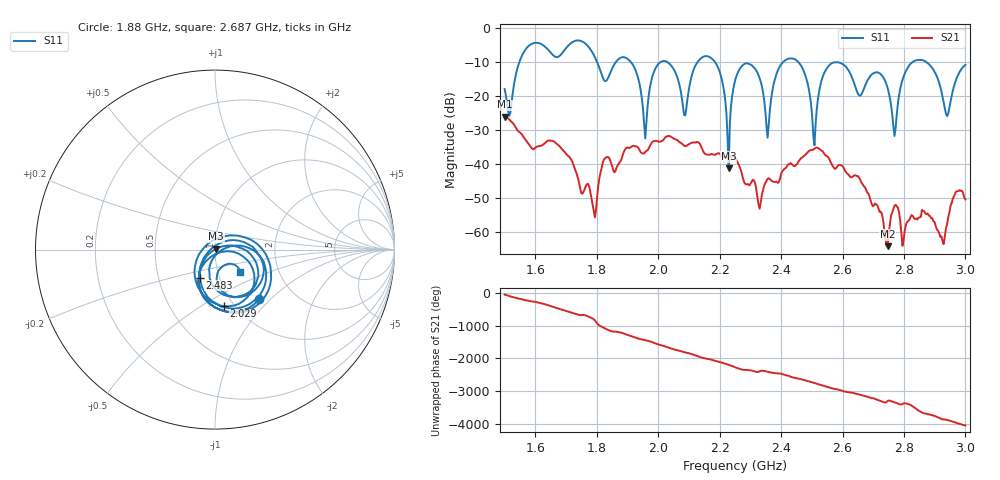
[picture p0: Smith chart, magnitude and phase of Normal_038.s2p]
# HZ S RI R 50
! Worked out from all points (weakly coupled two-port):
!   404 points, 1.5 GHz to 3 GHz, reference 50 ohm
!   highest |S21| = -26.07 dB at 1.5 GHz (marker M1); lowest = -64.3 dB at 2.747 GHz (marker M2)
!   lowest |S11| = -41.3 dB at 2.23 GHz (marker M3), VSWR 1.02, Z = 50.7 + j0.568 ohm
!   |S11| at or under -10 dB: 2.185 GHz to 2.406 GHz (221.3 MHz wide, 9.64 % of centre); 2.457 GHz to 2.828 GHz (370.8 MHz wide, 14 % of centre); 2.873 GHz to end of sweep (the widest 3 of 7)
!   S12 and S22 are empty: the file has one direction only
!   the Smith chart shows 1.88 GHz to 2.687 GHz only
!   S11 on the Smith chart (normalised r, x): 1.88 GHz: 1.34, -0.86; 2.029 GHz: 0.90, -0.63; 2.483 GHz: 0.80, -0.26; 2.687 GHz: 1.28, -0.33
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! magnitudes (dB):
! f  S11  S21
! 1.5 GHz  -17.9  -26.1
! 1.753 GHz  -3.9  -48.8
! 1.88 GHz  -8.6  -38.8
! 1.958 GHz  -32.5  -36.5
! 2.002 GHz  -10.3  -33.5
! 2.029 GHz  -9.9  -31.8
! 2.088 GHz  -25.7  -34.8
! 2.181 GHz  -9.6  -37.3
! 2.23 GHz  -41.3  -37.9
! 2.252 GHz  -14.9  -38.4
! 2.33 GHz  -14.7  -53.2
! 2.356 GHz  -32.3  -44.4
! 2.404 GHz  -10.2  -42.1
! 2.483 GHz  -15.0  -37.0
! 2.501 GHz  -26.0  -35.9
! 2.561 GHz  -10.6  -39.4
! 2.687 GHz  -14.5  -49.5
! 2.747 GHz  -17.6  -64.3
! 2.751 GHz  -19.0  -60.4
! 2.862 GHz  -9.4  -53.9
! 2.94 GHz  -25.9  -57.7
! 3 GHz  -10.8  -50.5
